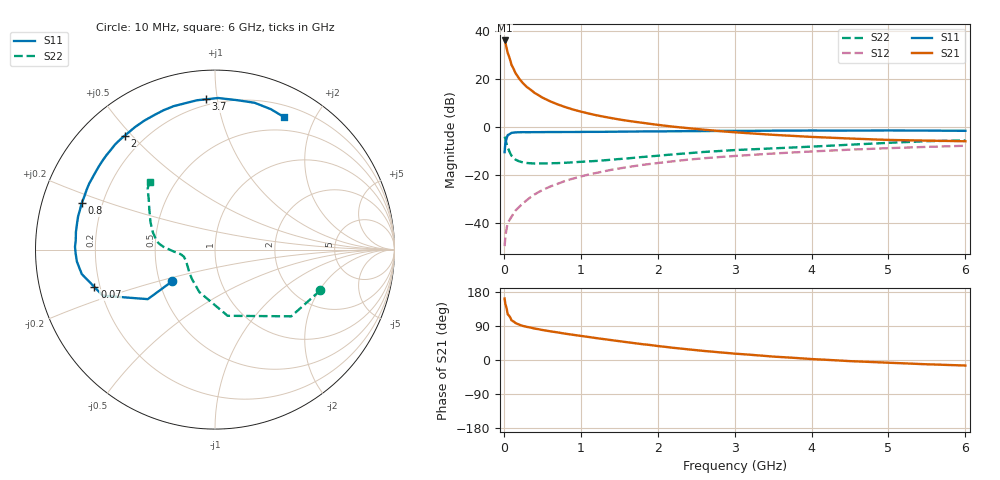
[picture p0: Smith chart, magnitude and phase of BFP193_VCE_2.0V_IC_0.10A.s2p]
! Infineon Technologies  Discrete & RF Semiconductors
! BFP193
! VCE =  2.0 V,  IC = 0.10 A
! Common Emitter S-Parameters:  Jan 2017
# GHz  S  MA  R  50
!  f  S11  S21  S12  S22
! GHz  MAG  ANG  MAG  ANG  MAG  ANG  MAG  ANG
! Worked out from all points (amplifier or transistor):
!   77 points, 10 MHz to 6 GHz, reference 50 ohm
!   highest |S21| = 36.0 dB at 10 MHz (marker M1)
!   |S21| within 3 dB of that: start of sweep to 34.74 MHz
!   unconditionally stable (mu >= 1): start of sweep to 15.5 MHz; 175 MHz to 3.973 GHz; 4.023 GHz to end of sweep
!   at 130 MHz: K = 0.91, MSG = 29.9 dB, |S12| = -35.8 dB
!   at 2.2 GHz: K = 1.07, MAG = 5.6 dB, |S12| = -14.3 dB
!   at 6 GHz: K = 1.04, MAG = -0.2 dB, |S12| = -7.8 dB
!   S11 on the Smith chart (normalised r, x): 10 MHz: 0.58, -0.23; 70 MHz: 0.18, -0.15; 800 MHz: 0.12, +0.17; 2 GHz: 0.13, +0.48; 3.7 GHz: 0.16, +0.93; 6 GHz: 0.33, +1.59
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0.01  0.2985 -143.5  63.31 162.1  0.0033 70.3  0.629 -21.2
0.02  0.465 -143.6  56.7 147.1  0.0052 68.5  0.5645 -41.2
0.05  0.6759 -157.7  34.91 120.7  0.0099 50.2  0.3755 -79.2
0.07  0.7037 -162.8  28.55 116.3  0.0113 53.8  0.316 -88.7
0.1  0.7546 -169.6  19.59 104.6  0.0135 57.8  0.2521 -110.3
0.15  0.7725 -175.1  13.36 97.7  0.0181 61.3  0.2096 -127.3
0.2  0.7768 -178.5  10.11 93.2  0.0217 66.5  0.1925 -137.9
0.25  0.7802 178.8  8.12 89.8  0.0259 66.8  0.1826 -144.6
0.3  0.7775 176.4  6.777 87.4  0.0301 68.9  0.1779 -150.2
0.4  0.781 172.8  5.116 82.9  0.0395 70.4  0.1736 -156.7
0.5  0.7823 169.4  4.097 79.2  0.0484 71.1  0.1739 -161.1
0.6  0.7848 166.4  3.434 75.8  0.0574 71.4  0.1758 -164.2
0.8  0.7864 160.7  2.592 69.4  0.0757 70.5  0.1798 -168.0
1.1  0.7917 152.3  1.912 60.8  0.102 67.0  0.1921 -171.9
1.5  0.7989 141.6  1.434 49.7  0.1367 62.0  0.2152 -175.9
2  0.81 128.3  1.109 36.9  0.1775 55.1  0.2521 -179.8
2.1  0.8118 125.7  1.061 34.7  0.1852 53.6  0.2604 179.3
3.1  0.8313 104.3  0.757 15.4  0.2549 39.6  0.3359 169.6
3.7  0.8387 93.6  0.66 6.6  0.2913 32.1  0.3706 161.4
4.1  0.843 87.3  0.612 1.5  0.3146 27.1  0.3973 155.2
5.1  0.8453 73.6  0.534 -8.0  0.3668 14.9  0.4753 141.3
6  0.8326 62.6  0.504 -14.6  0.4065 4.5  0.5255 133.8
